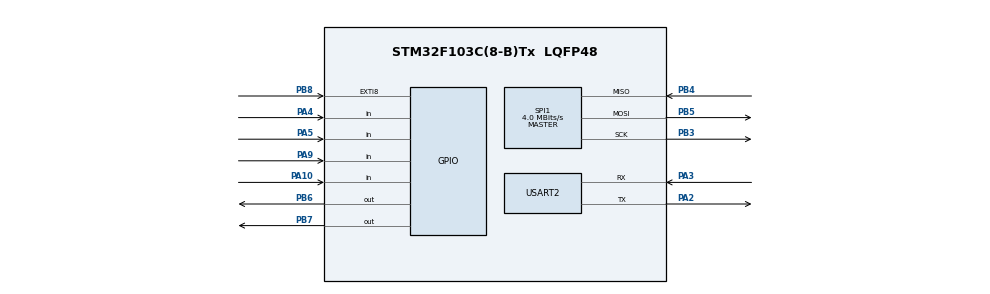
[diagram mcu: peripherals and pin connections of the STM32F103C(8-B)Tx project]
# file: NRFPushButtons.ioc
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Mcu.Family=STM32F1
Mcu.Name=STM32F103C(8-B)Tx
Mcu.Package=LQFP48
NVIC.EXTI9_5_IRQn=true\:0\:0\:false\:false\:true\:true\:true
NVIC.PriorityGroup=NVIC_PRIORITYGROUP_4
PA10.GPIO_PuPd=GPIO_PULLUP
PA10.Signal=GPIO_Input
PA2.Mode=Asynchronous
PA2.Signal=USART2_TX
PA3.Mode=Asynchronous
PA3.Signal=USART2_RX
PA4.GPIO_PuPd=GPIO_PULLUP
PA4.Signal=GPIO_Input
PA5.GPIO_PuPd=GPIO_PULLUP
PA5.Signal=GPIO_Input
PA9.GPIO_PuPd=GPIO_PULLUP
PA9.Signal=GPIO_Input
PB3.Mode=Full_Duplex_Master
PB3.Signal=SPI1_SCK
PB4.Mode=Full_Duplex_Master
PB4.Signal=SPI1_MISO
PB5.Mode=Full_Duplex_Master
PB5.Signal=SPI1_MOSI
PB6.Signal=GPIO_Output
PB7.Signal=GPIO_Output
PB8.GPIO_ModeDefaultEXTI=GPIO_MODE_IT_FALLING
PB8.Signal=GPXTI8
PD0-OSC_IN.Mode=HSE-External-Oscillator
PD0-OSC_IN.Signal=RCC_OSC_IN
PD1-OSC_OUT.Mode=HSE-External-Oscillator
PD1-OSC_OUT.Signal=RCC_OSC_OUT
ProjectManager.HeapSize=0x200
ProjectManager.StackSize=0x400
ProjectManager.TargetToolchain=MDK-ARM V5.27
RCC.APB1Freq_Value=8000000
RCC.APB2Freq_Value=8000000
RCC.SYSCLKSource=RCC_SYSCLKSOURCE_PLLCLK
SPI1.BaudRatePrescaler=SPI_BAUDRATEPRESCALER_2
SPI1.CalculateBaudRate=4.0 MBits/s
SPI1.Direction=SPI_DIRECTION_2LINES
SPI1.Mode=SPI_MODE_MASTER
SPI1.VirtualType=VM_MASTER
USART2.VirtualMode=VM_ASYNC
VP_SYS_VS_ND.Mode=No_Debug
board=custom

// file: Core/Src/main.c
/* USER CODE BEGIN Header */
/**
  ******************************************************************************
  * @file           : main.c
  * @brief          : Main program body
  ******************************************************************************
  * @attention
  *
  * <h2><center>&copy; Copyright (c) 2022 STMicroelectronics.
  * All rights reserved.</center></h2>
  *
  * This software component is licensed by ST under BSD 3-Clause license,
  * the "License"; You may not use this file except in compliance with the
  * License. You may obtain a copy of the License at:
  *                        opensource.org/licenses/BSD-3-Clause
  *
  ******************************************************************************
  */
/* USER CODE END Header */
#include "main.h"

/* USER CODE BEGIN Includes */

#include "NRF24L01.h"
#include "string.h"

/* USER CODE END Includes */

SPI_HandleTypeDef hspi1;

UART_HandleTypeDef huart2;

void SystemClock_Config(void);
static void MX_GPIO_Init(void);
static void MX_SPI1_Init(void);
static void MX_USART2_UART_Init(void);
/* USER CODE BEGIN PFP */

static void MX_GPIO_Init(void);
static void MX_SPI1_Init(void);
static void MX_USART2_UART_Init(void);

/* USER CODE END PFP */

/* USER CODE BEGIN 0 */
/*
uint8_t RxAddress[] = {0xEE,0xDD,0xCC,0xBB,0xAA};								// Receiver
uint8_t RxData[32];
uint8_t data[50];
uint8_t Pending[] = "Pending...\n";
*/
uint8_t TxAddress[] = {0xEE,0xDD,0xCC,0xBB,0xAA};								// Transmitter
uint8_t TxDataW[] = "Forward";																	// Pin A9
uint8_t TxDataS[] = "Backward";																	// Pin A10
uint8_t TxDataA[] = "Left";																			// Pin A4
uint8_t TxDataD[] = "Right";																		// Pin A5
uint8_t Pending[] = "Pending...\n";
uint8_t Testing[] = "Testing Receiver...\n";
uint8_t check;

/* USER CODE END 0 */

int main(void)
{

  /* MCU Configuration--------------------------------------------------------*/

  /* Reset of all peripherals, Initializes the Flash interface and the Systick. */
  HAL_Init();

  /* Configure the system clock */
  SystemClock_Config();

  /* Initialize all configured peripherals */
  MX_GPIO_Init();
  MX_SPI1_Init();
  MX_USART2_UART_Init();
  /* USER CODE BEGIN 2 */

  NRF24_Init();
	NRF24_TxMode(TxAddress, 10);
//	NRF24_RxMode(RxAddress, 10);
//	NRF24_ReadAll(data);

  /* USER CODE END 2 */

  /* Infinite loop */
  while (1)
  {

    /* USER CODE BEGIN 3 */

/*
		if (isDataAvailable(2) == 1 )
	  {
		  NRF24_Receive(RxData);
			HAL_UART_Transmit(&huart2, RxData, strlen((char *)RxData), 100);
			HAL_Delay(100);
	  }
		else
		{
			HAL_UART_Transmit(&huart2, Pending, strlen((char *)Pending), 100);
			HAL_Delay(1000);
		}
*/

		if(NRF24_Transmit(Testing) == 1)
			{
				HAL_UART_Transmit(&huart2, Testing, strlen((char *)Testing), 100);
				HAL_Delay(1000);
			}

/*
		while(HAL_GPIO_ReadPin(GPIOA, GPIO_PIN_9)==0)
		{
			if(NRF24_Transmit(TxDataW) == 1)
			{
				HAL_UART_Transmit(&huart2, TxDataW, strlen((char *)TxDataW), 100);
				HAL_Delay(100);
			}
		}
		while(HAL_GPIO_ReadPin (GPIOA, GPIO_PIN_10)==0)
		{
			if(NRF24_Transmit(TxDataS) == 1)
			{
				HAL_UART_Transmit(&huart2, TxDataS, strlen((char *)TxDataS), 100);
				HAL_Delay(100);
			}
		}
		while(HAL_GPIO_ReadPin (GPIOA, GPIO_PIN_4)==0)
		{
			if(NRF24_Transmit(TxDataA) == 1)
			{
				HAL_UART_Transmit(&huart2, TxDataA, strlen((char *)TxDataA), 100);
				HAL_Delay(100);
			}
		}
		while(HAL_GPIO_ReadPin (GPIOA, GPIO_PIN_5)==0)
		{
			if(NRF24_Transmit(TxDataD) == 1)
			{
				HAL_UART_Transmit(&huart2, TxDataD, strlen((char *)TxDataD), 100);
				HAL_Delay(100);
			}
		}
*/
  }
  /* USER CODE END 3 */
}

void SystemClock_Config(void)
{
  RCC_OscInitTypeDef RCC_OscInitStruct = {0};
  RCC_ClkInitTypeDef RCC_ClkInitStruct = {0};

  /** Initializes the RCC Oscillators according to the specified parameters
  * in the RCC_OscInitTypeDef structure.
  */
  RCC_OscInitStruct.OscillatorType = RCC_OSCILLATORTYPE_HSI;
  RCC_OscInitStruct.HSIState = RCC_HSI_ON;
  RCC_OscInitStruct.HSICalibrationValue = RCC_HSICALIBRATION_DEFAULT;
  RCC_OscInitStruct.PLL.PLLState = RCC_PLL_ON;
  RCC_OscInitStruct.PLL.PLLSource = RCC_PLLSOURCE_HSI_DIV2;
  RCC_OscInitStruct.PLL.PLLMUL = RCC_PLL_MUL2;
  if (HAL_RCC_OscConfig(&RCC_OscInitStruct) != HAL_OK)
  {
    Error_Handler();
  }
  /** Initializes the CPU, AHB and APB buses clocks
  */
  RCC_ClkInitStruct.ClockType = RCC_CLOCKTYPE_HCLK|RCC_CLOCKTYPE_SYSCLK
                              |RCC_CLOCKTYPE_PCLK1|RCC_CLOCKTYPE_PCLK2;
  RCC_ClkInitStruct.SYSCLKSource = RCC_SYSCLKSOURCE_PLLCLK;
  RCC_ClkInitStruct.AHBCLKDivider = RCC_SYSCLK_DIV1;
  RCC_ClkInitStruct.APB1CLKDivider = RCC_HCLK_DIV1;
  RCC_ClkInitStruct.APB2CLKDivider = RCC_HCLK_DIV1;

  if (HAL_RCC_ClockConfig(&RCC_ClkInitStruct, FLASH_LATENCY_0) != HAL_OK)
  {
    Error_Handler();
  }
}

static void MX_SPI1_Init(void)
{

  /* SPI1 parameter configuration*/
  hspi1.Instance = SPI1;
  hspi1.Init.Mode = SPI_MODE_MASTER;
  hspi1.Init.Direction = SPI_DIRECTION_2LINES;
  hspi1.Init.DataSize = SPI_DATASIZE_8BIT;
  hspi1.Init.CLKPolarity = SPI_POLARITY_LOW;
  hspi1.Init.CLKPhase = SPI_PHASE_1EDGE;
  hspi1.Init.NSS = SPI_NSS_SOFT;
  hspi1.Init.BaudRatePrescaler = SPI_BAUDRATEPRESCALER_2;
  hspi1.Init.FirstBit = SPI_FIRSTBIT_MSB;
  hspi1.Init.TIMode = SPI_TIMODE_DISABLE;
  hspi1.Init.CRCCalculation = SPI_CRCCALCULATION_DISABLE;
  hspi1.Init.CRCPolynomial = 10;
  if (HAL_SPI_Init(&hspi1) != HAL_OK)
  {
    Error_Handler();
  }

}

static void MX_USART2_UART_Init(void)
{

  huart2.Instance = USART2;
  huart2.Init.BaudRate = 115200;
  huart2.Init.WordLength = UART_WORDLENGTH_8B;
  huart2.Init.StopBits = UART_STOPBITS_1;
  huart2.Init.Parity = UART_PARITY_NONE;
  huart2.Init.Mode = UART_MODE_TX_RX;
  huart2.Init.HwFlowCtl = UART_HWCONTROL_NONE;
  huart2.Init.OverSampling = UART_OVERSAMPLING_16;
  if (HAL_UART_Init(&huart2) != HAL_OK)
  {
    Error_Handler();
  }

}

static void MX_GPIO_Init(void)
{
  GPIO_InitTypeDef GPIO_InitStruct = {0};

  /* GPIO Ports Clock Enable */
  __HAL_RCC_GPIOD_CLK_ENABLE();
  __HAL_RCC_GPIOA_CLK_ENABLE();
  __HAL_RCC_GPIOB_CLK_ENABLE();

  /*Configure GPIO pin Output Level */
  HAL_GPIO_WritePin(GPIOB, GPIO_PIN_6|GPIO_PIN_7, GPIO_PIN_RESET);

  /*Configure GPIO pins : PA4 PA5 PA9 PA10 */
  GPIO_InitStruct.Pin = GPIO_PIN_4|GPIO_PIN_5|GPIO_PIN_9|GPIO_PIN_10;
  GPIO_InitStruct.Mode = GPIO_MODE_INPUT;
  GPIO_InitStruct.Pull = GPIO_PULLUP;
  HAL_GPIO_Init(GPIOA, &GPIO_InitStruct);

  /*Configure GPIO pins : PB6 PB7 */
  GPIO_InitStruct.Pin = GPIO_PIN_6|GPIO_PIN_7;
  GPIO_InitStruct.Mode = GPIO_MODE_OUTPUT_PP;
  GPIO_InitStruct.Pull = GPIO_NOPULL;
  GPIO_InitStruct.Speed = GPIO_SPEED_FREQ_LOW;
  HAL_GPIO_Init(GPIOB, &GPIO_InitStruct);

  /*Configure GPIO pin : PB8 */
  GPIO_InitStruct.Pin = GPIO_PIN_8;
  GPIO_InitStruct.Mode = GPIO_MODE_IT_FALLING;
  GPIO_InitStruct.Pull = GPIO_NOPULL;
  HAL_GPIO_Init(GPIOB, &GPIO_InitStruct);

  /* EXTI interrupt init*/
  HAL_NVIC_SetPriority(EXTI9_5_IRQn, 0, 0);
  HAL_NVIC_EnableIRQ(EXTI9_5_IRQn);

}

void Error_Handler(void)
{
  __disable_irq();
  while (1)
  {
  }
}

/************************ (C) COPYRIGHT STMicroelectronics *****END OF FILE****/
